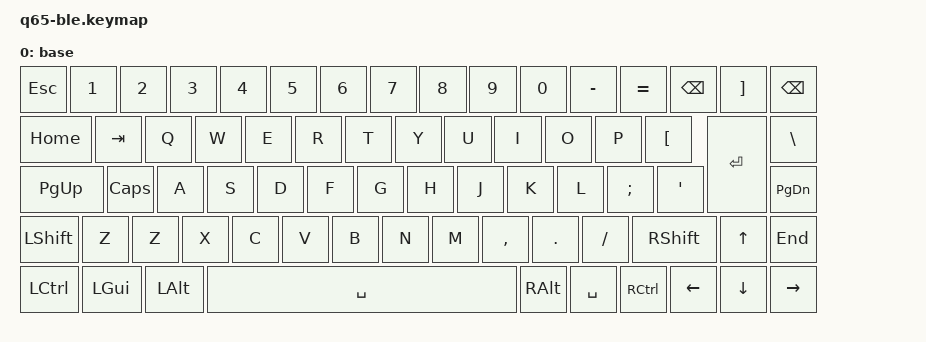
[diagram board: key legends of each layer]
#include <behaviors.dtsi>
#include <dt-bindings/zmk/keys.h>
#include <dt-bindings/zmk/bt.h>
#include <dt-bindings/zmk/outputs.h>

/ {

    keymap {
        compatible = "zmk,keymap";

        base {
            bindings = <
                
&kp ESC  &kp N1  &kp N2  &kp N3  &kp N4  &kp N5  &kp N6  &kp N7  &kp N8  &kp N9  &kp N0  &kp MINUS &kp EQUAL  &kp BSPC  &kp BSPC &kp HOME
&kp TAB   &kp Q   &kp W   &kp E   &kp R   &kp T   &kp Y   &kp U   &kp I   &kp O   &kp P   &kp LBKT  &kp RBKT   &kp BSLH &kp PG_UP
&kp CLCK   &kp A   &kp S   &kp D   &kp F   &kp G   &kp H   &kp J   &kp K   &kp  L  &kp SEMI &kp SQT      &kp ENTER      &kp PG_DN
&kp LSHFT   &kp Z  &kp Z   &kp X   &kp C   &kp V   &kp B   &kp N   &kp M   &kp COMMA &kp DOT &kp FSLH  &kp RSHFT     &kp UP    &kp END
&kp LCTRL &kp LGUI &kp LALT            &kp SPACE               &kp RALT  &kp SPACE  &kp RCTRL  &kp LEFT  &kp DOWN  &kp RIGHT
            >;
        };
    };
};
